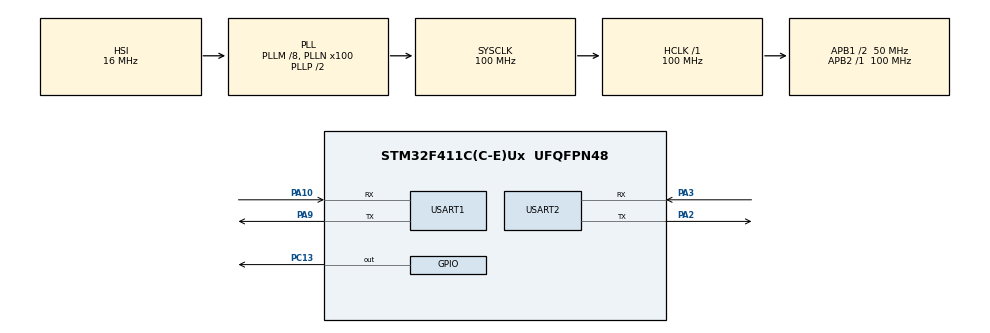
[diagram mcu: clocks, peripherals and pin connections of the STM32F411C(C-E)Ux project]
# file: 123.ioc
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Mcu.Family=STM32F4
Mcu.Name=STM32F411C(C-E)Ux
Mcu.Package=UFQFPN48
NVIC.PriorityGroup=NVIC_PRIORITYGROUP_4
PA10.Mode=Asynchronous
PA10.Signal=USART1_RX
PA2.Mode=Asynchronous
PA2.Signal=USART2_TX
PA3.Mode=Asynchronous
PA3.Signal=USART2_RX
PA9.Mode=Asynchronous
PA9.Signal=USART1_TX
PC13-ANTI_TAMP.Signal=GPIO_Output
ProjectManager.HeapSize=0x200
ProjectManager.StackSize=0x400
ProjectManager.TargetToolchain=STM32CubeIDE
RCC.48MHZClocksFreq_Value=50000000
RCC.AHBFreq_Value=100000000
RCC.APB1CLKDivider=RCC_HCLK_DIV2
RCC.APB1Freq_Value=50000000
RCC.APB1TimFreq_Value=100000000
RCC.APB2Freq_Value=100000000
RCC.APB2TimFreq_Value=100000000
RCC.CortexFreq_Value=100000000
RCC.HCLKFreq_Value=100000000
RCC.HSE_VALUE=25000000
RCC.HSI_VALUE=16000000
RCC.LSE_VALUE=32768
RCC.PLLM=8
RCC.PLLN=100
RCC.SYSCLKFreq_VALUE=100000000
RCC.SYSCLKSource=RCC_SYSCLKSOURCE_PLLCLK
RCC.VCOOutputFreq_Value=200000000
USART1.VirtualMode=VM_ASYNC
USART2.VirtualMode=VM_ASYNC
board=custom

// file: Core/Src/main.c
/* USER CODE BEGIN Header */
/**
  ******************************************************************************
  * @file           : main.c
  * @brief          : Main program body
  ******************************************************************************
  * @attention
  *
  * Copyright (c) 2025 STMicroelectronics.
  * All rights reserved.
  *
  * This software is licensed under terms that can be found in the LICENSE file
  * in the root directory of this software component.
  * If no LICENSE file comes with this software, it is provided AS-IS.
  *
  ******************************************************************************
  */
/* USER CODE END Header */
#include "main.h"

/* USER CODE BEGIN Includes */
#include "zigbee_e18.h"
#include "stdio.h"
/* USER CODE END Includes */

UART_HandleTypeDef huart1;
UART_HandleTypeDef huart2;

/* USER CODE BEGIN PV */
//const char *phone_number[] = {
//		"+84827402199",
//		"+84898639856",
//		};
//int number_of_phone = sizeof(phone_number) / sizeof(phone_number[0]);
//const char *message = "Có cháy tại địa chỉ: \"Đại học Bách Khoa Hà Nội\"";
//int smoke;
//int temp;
uint16_t  TARGET_PANID   = 0x5555;
/* USER CODE END PV */

void SystemClock_Config(void);
static void MX_GPIO_Init(void);
static void MX_USART1_UART_Init(void);
static void MX_USART2_UART_Init(void);

int main(void)
{

  /* MCU Configuration--------------------------------------------------------*/

  /* Reset of all peripherals, Initializes the Flash interface and the Systick. */
  HAL_Init();

  /* Configure the system clock */
  SystemClock_Config();

  /* Initialize all configured peripherals */
  MX_GPIO_Init();
  MX_USART1_UART_Init();
  MX_USART2_UART_Init();
  /* USER CODE BEGIN 2 */
  //sim_init(&huart1);
//  for(int i = 0; i < number_of_phone; i++) {
//	  send_SMS(&huart1, phone_number[i], message);
//  }
//  mqttt4GConfig(&huart1, VINAPHONE, ACCESS_TOKEN);
  //A7640_Init();

  E18_Init_UART(&huart1);

    bool init_ok = false;
    for(int i=0; i<5; i++) {
        if (E18_Init(E18_NODE_END_DEVICE, TARGET_PANID, 11)) {
            init_ok = true;
            break;
        }
        HAL_GPIO_TogglePin(GPIOC, GPIO_PIN_13);
        HAL_Delay(500);
    }

    if (!init_ok) {

        HAL_GPIO_WritePin(GPIOC, GPIO_PIN_13, GPIO_PIN_RESET);
    }
    for(int i=0; i<3; i++) {
          if (E18_StartNetwork()) break;
          HAL_Delay(1000);
      }
    // Chuyển sang mode transparent
    HAL_GPIO_WritePin(GPIOC, GPIO_PIN_13, GPIO_PIN_RESET);
    HAL_Delay(2000);
    E18_SwitchToTransparentMode();

  /* USER CODE END 2 */

  /* Infinite loop */
  while (1)
  {

    /* USER CODE BEGIN 3 */
//	 smoke = rand() % 90 + 10;
//	 sprintf(txBuf, "{\"smoke\":%d}", smoke);
//	 mqttPublish(&huart1, "v1/devices/me/telemetry", txBuf);
//	 HAL_Delay(10000);
//     smoke = rand() % 100;
//     temp = rand() % 100;
//
//      A7640_Publish(smoke, "smoke");
//      A7640_Publish(temp, "temp");
//      HAL_Delay(10000);
	  char msg[64];
	  static int count = 0;
	  sprintf(msg, "Send to Coordinator %d\r\n", count++);
	  HAL_UART_Transmit(&huart1, (uint8_t*)msg, strlen(msg), 100);
	  HAL_GPIO_TogglePin(GPIOC, GPIO_PIN_13);
	  HAL_Delay(10000);

  }
  /* USER CODE END 3 */
}

void SystemClock_Config(void)
{
  RCC_OscInitTypeDef RCC_OscInitStruct = {0};
  RCC_ClkInitTypeDef RCC_ClkInitStruct = {0};

  /** Configure the main internal regulator output voltage
  */
  __HAL_RCC_PWR_CLK_ENABLE();
  __HAL_PWR_VOLTAGESCALING_CONFIG(PWR_REGULATOR_VOLTAGE_SCALE1);

  /** Initializes the RCC Oscillators according to the specified parameters
  * in the RCC_OscInitTypeDef structure.
  */
  RCC_OscInitStruct.OscillatorType = RCC_OSCILLATORTYPE_HSI;
  RCC_OscInitStruct.HSIState = RCC_HSI_ON;
  RCC_OscInitStruct.HSICalibrationValue = RCC_HSICALIBRATION_DEFAULT;
  RCC_OscInitStruct.PLL.PLLState = RCC_PLL_ON;
  RCC_OscInitStruct.PLL.PLLSource = RCC_PLLSOURCE_HSI;
  RCC_OscInitStruct.PLL.PLLM = 8;
  RCC_OscInitStruct.PLL.PLLN = 100;
  RCC_OscInitStruct.PLL.PLLP = RCC_PLLP_DIV2;
  RCC_OscInitStruct.PLL.PLLQ = 4;
  if (HAL_RCC_OscConfig(&RCC_OscInitStruct) != HAL_OK)
  {
    Error_Handler();
  }

  /** Initializes the CPU, AHB and APB buses clocks
  */
  RCC_ClkInitStruct.ClockType = RCC_CLOCKTYPE_HCLK|RCC_CLOCKTYPE_SYSCLK
                              |RCC_CLOCKTYPE_PCLK1|RCC_CLOCKTYPE_PCLK2;
  RCC_ClkInitStruct.SYSCLKSource = RCC_SYSCLKSOURCE_PLLCLK;
  RCC_ClkInitStruct.AHBCLKDivider = RCC_SYSCLK_DIV1;
  RCC_ClkInitStruct.APB1CLKDivider = RCC_HCLK_DIV2;
  RCC_ClkInitStruct.APB2CLKDivider = RCC_HCLK_DIV1;

  if (HAL_RCC_ClockConfig(&RCC_ClkInitStruct, FLASH_LATENCY_3) != HAL_OK)
  {
    Error_Handler();
  }
}

static void MX_USART1_UART_Init(void)
{

  huart1.Instance = USART1;
  huart1.Init.BaudRate = 115200;
  huart1.Init.WordLength = UART_WORDLENGTH_8B;
  huart1.Init.StopBits = UART_STOPBITS_1;
  huart1.Init.Parity = UART_PARITY_NONE;
  huart1.Init.Mode = UART_MODE_TX_RX;
  huart1.Init.HwFlowCtl = UART_HWCONTROL_NONE;
  huart1.Init.OverSampling = UART_OVERSAMPLING_16;
  if (HAL_UART_Init(&huart1) != HAL_OK)
  {
    Error_Handler();
  }

}

static void MX_USART2_UART_Init(void)
{

  huart2.Instance = USART2;
  huart2.Init.BaudRate = 115200;
  huart2.Init.WordLength = UART_WORDLENGTH_8B;
  huart2.Init.StopBits = UART_STOPBITS_1;
  huart2.Init.Parity = UART_PARITY_NONE;
  huart2.Init.Mode = UART_MODE_TX_RX;
  huart2.Init.HwFlowCtl = UART_HWCONTROL_NONE;
  huart2.Init.OverSampling = UART_OVERSAMPLING_16;
  if (HAL_UART_Init(&huart2) != HAL_OK)
  {
    Error_Handler();
  }

}

static void MX_GPIO_Init(void)
{
  GPIO_InitTypeDef GPIO_InitStruct = {0};

  /* GPIO Ports Clock Enable */
  __HAL_RCC_GPIOC_CLK_ENABLE();
  __HAL_RCC_GPIOA_CLK_ENABLE();

  /*Configure GPIO pin Output Level */
  HAL_GPIO_WritePin(GPIOC, GPIO_PIN_13, GPIO_PIN_RESET);

  /*Configure GPIO pin : PC13 */
  GPIO_InitStruct.Pin = GPIO_PIN_13;
  GPIO_InitStruct.Mode = GPIO_MODE_OUTPUT_PP;
  GPIO_InitStruct.Pull = GPIO_NOPULL;
  GPIO_InitStruct.Speed = GPIO_SPEED_FREQ_LOW;
  HAL_GPIO_Init(GPIOC, &GPIO_InitStruct);

}

void Error_Handler(void)
{
  __disable_irq();
  while (1)
  {
  }
}
